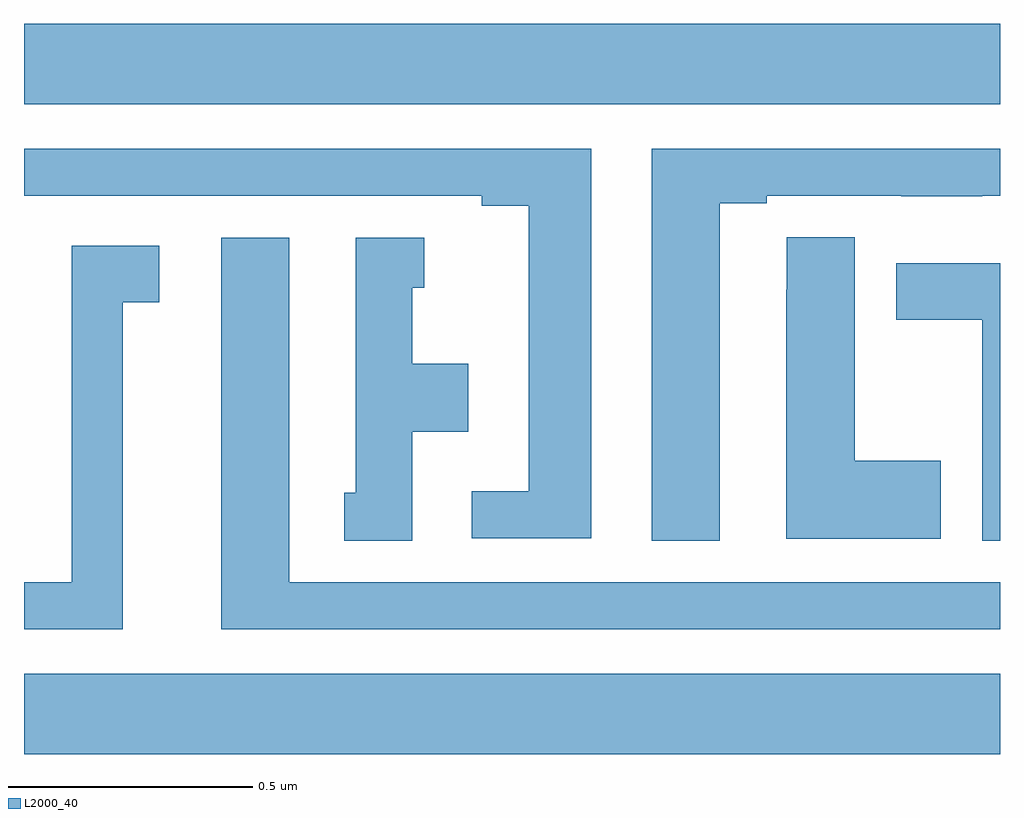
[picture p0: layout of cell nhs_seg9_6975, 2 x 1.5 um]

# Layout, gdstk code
import gdstk
lib = gdstk.Library(unit=1e-6, precision=1e-09)
def R(c, l, rs):  # rectangles x0, y0, x1, y1
    for r in rs: c.add(gdstk.rectangle(r[:2], r[2:], *l))
def P(c, l, *ps):  # polygons
    for p in ps: c.add(gdstk.Polygon(p, *l))
L2000_40 = (2000, 40)

nhs_seg9_6975 = lib.new_cell('nhs_seg9_6975')
R(nhs_seg9_6975, L2000_40, [(198,1241.708,200,1241.872), (198,1243.04,200,1243.204)])
P(nhs_seg9_6975, L2000_40, [(199.162,1242.948),(198,1242.948),(198,1242.852),(198.938,1242.852),(198.938,1242.832),(199.034,1242.832),(199.034,1242.246),(198.918,1242.246),(198.918,1242.15),(199.162,1242.15)],
  [(199.426,1242.837),(199.522,1242.837),(199.522,1242.852),(199.798,1242.852),(199.798,1242.851),(199.964,1242.851),(199.964,1242.852),(200,1242.852),(200,1242.948),(199.286,1242.948),(199.286,1242.145),(199.426,1242.145)],
  [(199.879,1242.309),(199.702,1242.309),(199.702,1242.767),(199.563,1242.767),(199.563,1242.659),(199.562,1242.659),(199.562,1242.149),(199.879,1242.149)],
  [(198.796,1242.368),(198.91,1242.368),(198.91,1242.508),(198.796,1242.508),(198.796,1242.663),(198.82,1242.663),(198.82,1242.766),(198.68,1242.766),(198.68,1242.243),(198.656,1242.243),(198.656,1242.145),(198.796,1242.145)],
  [(200,1242.06),(198.544,1242.06),(198.544,1242.766),(198.404,1242.766),(198.404,1241.964),(200,1241.964)],
  [(198.202,1242.634),(198.277,1242.634),(198.277,1242.75),(198.098,1242.75),(198.098,1242.06),(198,1242.06),(198,1241.964),(198.202,1241.964)],
  [(200,1242.714),(199.787,1242.714),(199.787,1242.598),(199.964,1242.598),(199.964,1242.145),(200,1242.145)])

lib.write_gds('nhs_seg9_6975.gds')
